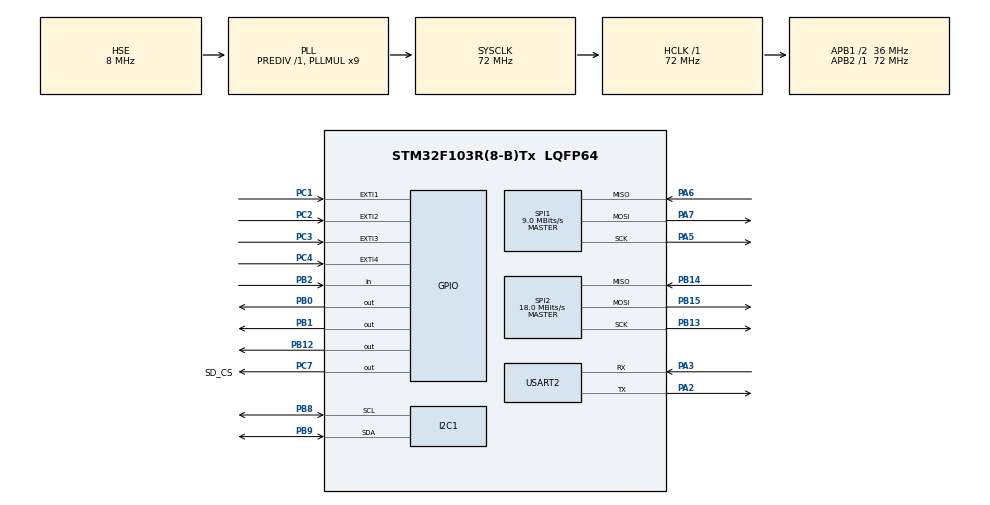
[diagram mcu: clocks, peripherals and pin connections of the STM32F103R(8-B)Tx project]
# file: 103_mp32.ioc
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FATFS._MAX_SS=4096
FATFS._USE_LFN=1
Mcu.Family=STM32F1
Mcu.Name=STM32F103R(8-B)Tx
Mcu.Package=LQFP64
NVIC.EXTI1_IRQn=true\:0\:0\:false\:true\:true\:1\:true\:true
NVIC.EXTI2_IRQn=true\:0\:0\:false\:true\:true\:2\:true\:true
NVIC.EXTI3_IRQn=true\:0\:0\:false\:true\:true\:3\:true\:true
NVIC.EXTI4_IRQn=true\:0\:0\:false\:true\:true\:4\:true\:true
NVIC.PriorityGroup=NVIC_PRIORITYGROUP_4
PA13.Mode=Serial_Wire
PA13.Signal=SYS_JTMS-SWDIO
PA14.Mode=Serial_Wire
PA14.Signal=SYS_JTCK-SWCLK
PA2.Mode=Asynchronous
PA2.Signal=USART2_TX
PA3.Mode=Asynchronous
PA3.Signal=USART2_RX
PA5.Mode=Full_Duplex_Master
PA5.Signal=SPI1_SCK
PA6.Mode=Full_Duplex_Master
PA6.Signal=SPI1_MISO
PA7.Mode=Full_Duplex_Master
PA7.Signal=SPI1_MOSI
PB0.Signal=GPIO_Output
PB1.Signal=GPIO_Output
PB12.Signal=GPIO_Output
PB13.Mode=Full_Duplex_Master
PB13.Signal=SPI2_SCK
PB14.Mode=Full_Duplex_Master
PB14.Signal=SPI2_MISO
PB15.Mode=Full_Duplex_Master
PB15.Signal=SPI2_MOSI
PB2.Signal=GPIO_Input
PB8.Mode=I2C
PB8.Signal=I2C1_SCL
PB9.Mode=I2C
PB9.Signal=I2C1_SDA
PC1.GPIO_ModeDefaultEXTI=GPIO_MODE_IT_RISING
PC1.Signal=GPXTI1
PC2.GPIO_ModeDefaultEXTI=GPIO_MODE_IT_RISING
PC2.Signal=GPXTI2
PC3.GPIO_ModeDefaultEXTI=GPIO_MODE_IT_RISING
PC3.Signal=GPXTI3
PC4.GPIO_ModeDefaultEXTI=GPIO_MODE_IT_RISING
PC4.Signal=GPXTI4
PC7.GPIO_Label=SD_CS
PC7.GPIO_PuPd=GPIO_NOPULL
PC7.GPIO_Speed=GPIO_SPEED_FREQ_MEDIUM
PC7.PinState=GPIO_PIN_SET
PC7.Signal=GPIO_Output
PD0-OSC_IN.Mode=HSE-External-Oscillator
PD0-OSC_IN.Signal=RCC_OSC_IN
PD1-OSC_OUT.Mode=HSE-External-Oscillator
PD1-OSC_OUT.Signal=RCC_OSC_OUT
ProjectManager.HeapSize=0x200
ProjectManager.StackSize=0x400
ProjectManager.TargetToolchain=TrueSTUDIO
RCC.AHBFreq_Value=72000000
RCC.APB1CLKDivider=RCC_HCLK_DIV2
RCC.APB1Freq_Value=36000000
RCC.APB1TimFreq_Value=72000000
RCC.APB2Freq_Value=72000000
RCC.APB2TimFreq_Value=72000000
RCC.HCLKFreq_Value=72000000
RCC.PLLMUL=RCC_PLL_MUL9
RCC.PLLSourceVirtual=RCC_PLLSOURCE_HSE
RCC.SYSCLKFreq_VALUE=72000000
RCC.SYSCLKSource=RCC_SYSCLKSOURCE_PLLCLK
RCC.USBFreq_Value=72000000
SPI1.BaudRatePrescaler=SPI_BAUDRATEPRESCALER_8
SPI1.CalculateBaudRate=9.0 MBits/s
SPI1.Direction=SPI_DIRECTION_2LINES
SPI1.Mode=SPI_MODE_MASTER
SPI1.VirtualType=VM_MASTER
SPI2.BaudRatePrescaler=SPI_BAUDRATEPRESCALER_2
SPI2.CLKPhase=SPI_PHASE_2EDGE
SPI2.CLKPolarity=SPI_POLARITY_HIGH
SPI2.CalculateBaudRate=18.0 MBits/s
SPI2.Direction=SPI_DIRECTION_2LINES
SPI2.Mode=SPI_MODE_MASTER
SPI2.VirtualType=VM_MASTER
USART2.VirtualMode=VM_ASYNC
VP_FATFS_VS_Generic.Mode=User_defined
board=custom

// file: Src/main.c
/* USER CODE BEGIN Header */
/**
  ******************************************************************************
  * @file           : main.c
  * @brief          : Main program body
  ******************************************************************************
  * @attention
  *
  * <h2><center>&copy; Copyright (c) 2019 STMicroelectronics.
  * All rights reserved.</center></h2>
  *
  * This software component is licensed by ST under BSD 3-Clause license,
  * the "License"; You may not use this file except in compliance with the
  * License. You may obtain a copy of the License at:
  *                        opensource.org/licenses/BSD-3-Clause
  *
  ******************************************************************************
  */
/* USER CODE END Header */

#include "main.h"
#include "fatfs.h"
#include "i2c.h"
#include "spi.h"
#include "usart.h"
#include "gpio.h"

/* USER CODE BEGIN Includes */
#include "stm32f1xx_hal.h"
#include "vs1003.h"
#include <stdio.h>
#include "beep.h"
/* USER CODE END Includes */

/* USER CODE BEGIN PTD */
uint8_t  SW1_flag =0;
uint8_t  SW2_flag =0;
uint8_t  SW3_flag =0;
uint8_t  SW4_flag =0;

FATFS fs;
FATFS *pfs;
FIL fil;
FRESULT fres;
DWORD fre_clust;
uint32_t total, free;
char buffer[100];
uint8_t retSD;
/* USER CODE END PTD */

/* USER CODE BEGIN PD */
#define GPIO_TEST 0
#define LINE_OUT_TEST 1
#define LINE_IN_TEST 0
/* USER CODE END PD */

void SystemClock_Config(void);
static void MX_NVIC_Init(void);
/* USER CODE BEGIN PFP */
int _write(int file, char *ptr, int len)
{
       HAL_UART_Transmit(&huart2,(uint8_t *)ptr, (uint16_t)len, 0xFFFFFFFF);
       return len;
}
/* USER CODE END PFP */

/* USER CODE BEGIN 0 */

#define delay_ms HAL_Delay
void delay_us(uint32_t us){  // 72MHz
    if(us>1){
        uint32_t count=us*8-6;
        while(count--); //asm volatile("nop");
    }
    else{
        uint32_t count=2;
        while(count--); // asm volatile("nop");
    }
}

#define ADDRESS   0x27<<1
#define RS1_EN1   0x05
#define RS1_EN0   0x01
#define RS0_EN1   0x04
#define RS0_EN0   0x00
#define BackLight 0x08

// RS-Q0 / RW-Q1 / EN-Q2 / BackLight-Q3 / D4-Q4 / D5-Q5 / D6-Q6 / D7-Q7
void LCD_DATA(uint8_t data) {
  uint8_t temp=(data & 0xF0)|RS1_EN1|BackLight;
  while(HAL_I2C_Master_Transmit(&hi2c1, ADDRESS, &temp, 1, 1000)!=HAL_OK);
  temp=(data & 0xF0)|RS1_EN0|BackLight;
  while(HAL_I2C_Master_Transmit(&hi2c1, ADDRESS, &temp, 1, 1000)!=HAL_OK);
  delay_us(4);

  temp=((data << 4) & 0xF0)|RS1_EN1|BackLight;
  while(HAL_I2C_Master_Transmit(&hi2c1, ADDRESS, &temp, 1, 1000)!=HAL_OK);
  temp = ((data << 4) & 0xF0)|RS1_EN0|BackLight;
  while(HAL_I2C_Master_Transmit(&hi2c1, ADDRESS, &temp, 1, 1000)!=HAL_OK);
  delay_us(50);
}

void LCD_CMD(uint8_t cmd) {
  uint8_t temp=(cmd & 0xF0)|RS0_EN1|BackLight;
  while(HAL_I2C_Master_Transmit(&hi2c1, ADDRESS, &temp, 1, 1000)!=HAL_OK);
  temp=(cmd & 0xF0)|RS0_EN0|BackLight;
  while(HAL_I2C_Master_Transmit(&hi2c1, ADDRESS, &temp, 1, 1000)!=HAL_OK);
  delay_us(4);

  temp=((cmd << 4) & 0xF0)|RS0_EN1|BackLight;
  while(HAL_I2C_Master_Transmit(&hi2c1, ADDRESS, &temp, 1, 1000)!=HAL_OK);
  temp=((cmd << 4) & 0xF0)|RS0_EN0|BackLight;
  while(HAL_I2C_Master_Transmit(&hi2c1, ADDRESS, &temp, 1, 1000)!=HAL_OK);
  delay_us(50);
}

void LCD_CMD_4bit(uint8_t cmd) {
  uint8_t temp=((cmd << 4) & 0xF0)|RS0_EN1|BackLight;
  while(HAL_I2C_Master_Transmit(&hi2c1, ADDRESS, &temp, 1, 1000)!=HAL_OK);
  temp=((cmd << 4) & 0xF0)|RS0_EN0|BackLight;
  while(HAL_I2C_Master_Transmit(&hi2c1, ADDRESS, &temp, 1, 1000)!=HAL_OK);
  delay_us(50);
}

void LCD_INIT(void) {
  delay_ms(100);

  LCD_CMD_4bit(0x03); delay_ms(5);
  LCD_CMD_4bit(0x03); delay_us(100);
  LCD_CMD_4bit(0x03); delay_us(100);
  LCD_CMD_4bit(0x02); delay_us(100);
  LCD_CMD(0x28);  // 4 bits, 2 line, 5x8 font
  LCD_CMD(0x08);  // display off, cursor off, blink off
  LCD_CMD(0x01);  // clear display
  delay_ms(3);
  LCD_CMD(0x06);  // cursor movint direction
  LCD_CMD(0x0C);  // display on, cursor off, blink off
}

void LCD_XY(char x, char y) {
  if      (y == 0) LCD_CMD(0x80 + x);
  else if (y == 1) LCD_CMD(0xC0 + x);
  else if (y == 2) LCD_CMD(0x94 + x);
  else if (y == 3) LCD_CMD(0xD4 + x);
}

void LCD_CLEAR(void) {
  LCD_CMD(0x01);
  delay_ms(2);
}

void LCD_PUTS(char *str) {
  while (*str) LCD_DATA(*str++);
}

/* USER CODE END 0 */

int main(void)
{
  /* USER CODE BEGIN 1 */
  char str[20];
  /* USER CODE END 1 */

  /* MCU Configuration--------------------------------------------------------*/

  /* Reset of all peripherals, Initializes the Flash interface and the Systick. */
  HAL_Init();

  /* Configure the system clock */
  SystemClock_Config();

  /* Initialize all configured peripherals */
  MX_GPIO_Init();
  MX_I2C1_Init();
  MX_SPI2_Init();
  MX_USART2_UART_Init();
  MX_SPI1_Init();
  MX_FATFS_Init();

  /* Initialize interrupts */
  MX_NVIC_Init();
  /* USER CODE BEGIN 2 */
  LCD_INIT();

  VS1003_Init();
  VS1003_SoftReset();

  BYTE buf[32] = "Hello world ";
  uint32_t bw,br;

  if(f_mount(&fs, "", 0) == FR_OK)
   {
	  LCD_XY(0,0);
	  LCD_PUTS("1111");
   }
   /* Open file to write */
//   if(f_open(&fil, "three.txt", FA_OPEN_ALWAYS | FA_READ | FA_WRITE) != FR_OK)
//     _Error_Handler(__FILE__, __LINE__);

  unsigned char filename[20] = "0:/1.mp3";
  uint16_t index = 0;
  LCD_CLEAR();
  if((retSD = f_open(&fil,filename, FA_OPEN_EXISTING | FA_READ ) == FR_OK))
  {

	  sprintf(str,"%s opend",filename);
	  LCD_XY(0,0);
	  LCD_PUTS(str);
  }else
  {
	  sprintf(str,"%s error",filename);
	  LCD_XY(0,0);
	  LCD_PUTS(str);
  }

  printf("7878");

  uint8_t pp_flag = 0;

  /* USER CODE END 2 */

  /* Infinite loop */
  while (1)
  {

    /* USER CODE BEGIN 3 */

	  	  if(MP3_DREQ == 1) // 코덱이 데이터를 받을 수 있는 상태 일때
	  	  {
	  		  if(pp_flag)
	  		  {
				  f_read(&fil, buf, 32, &br);
				  if(br >=32)
				  {
					  VS1003_WriteData(&buf[0]);
				  }else
				  {

				  }
	  		  }

	  	  }
		if(SW1_flag)
		{
			SW1_flag = 0;

			index = index == 0 ? 4 :index-1;
			switch(index)
			{
			case 0:strcpy(filename, "0:/1.mp3"); break;
			case 1:strcpy(filename, "0:/2.mp3"); break;
			case 2:strcpy(filename, "0:/3.mp3"); break;
			case 3:strcpy(filename, "0:/4.mp3"); break;
			case 4:strcpy(filename, "0:/5.mp3"); break;
			}

			f_close(&fil);

			if((retSD = f_open(&fil,filename, FA_OPEN_EXISTING | FA_READ )) == FR_OK)
			{
				  sprintf(str,"%s opend",filename);
				  LCD_XY(0,0);
				  LCD_PUTS(str);
			  }else
			  {
				  sprintf(str,"%s error",filename);
				  LCD_XY(0,0);
				  LCD_PUTS(str);
			  }
			VS1003_SoftReset();
		}
		if(SW3_flag)
		{
			SW3_flag = 0;

			index = index == 4 ? 0 :index+1;
			switch(index)
			{
			case 0:strcpy(filename, "0:/1.mp3"); break;
			case 1:strcpy(filename, "0:/2.mp3"); break;
			case 2:strcpy(filename, "0:/3.mp3"); break;
			case 3:strcpy(filename, "0:/4.mp3"); break;
			case 4:strcpy(filename, "0:/5.mp3"); break;
			}

			f_close(&fil);

			if((retSD = f_open(&fil,filename, FA_OPEN_EXISTING | FA_READ )) == FR_OK)
			{
				  sprintf(str,"%s opend",filename);
				  LCD_XY(0,0);
				  LCD_PUTS(str);
			  }else
			  {
				  sprintf(str,"%s error",filename);
				  LCD_XY(0,0);
				  LCD_PUTS(str);
			  }
			VS1003_SoftReset();
		}
	  	  if(SW2_flag)
	  	  {
	  		SW2_flag = 0;
	  		if(pp_flag)
	  		{
	  			pp_flag = 0;
	  			LCD_XY(0,1);
				LCD_PUTS("paused ");
	  		}
	  		else
	  		{
	  			pp_flag = 1;
	  			LCD_XY(0,1);
				LCD_PUTS("playing  ");

	  		}
	  	  }

  }
  /* USER CODE END 3 */
}

void SystemClock_Config(void)
{
  RCC_OscInitTypeDef RCC_OscInitStruct = {0};
  RCC_ClkInitTypeDef RCC_ClkInitStruct = {0};

  /** Initializes the CPU, AHB and APB busses clocks
  */
  RCC_OscInitStruct.OscillatorType = RCC_OSCILLATORTYPE_HSE;
  RCC_OscInitStruct.HSEState = RCC_HSE_ON;
  RCC_OscInitStruct.HSEPredivValue = RCC_HSE_PREDIV_DIV1;
  RCC_OscInitStruct.HSIState = RCC_HSI_ON;
  RCC_OscInitStruct.PLL.PLLState = RCC_PLL_ON;
  RCC_OscInitStruct.PLL.PLLSource = RCC_PLLSOURCE_HSE;
  RCC_OscInitStruct.PLL.PLLMUL = RCC_PLL_MUL9;
  if (HAL_RCC_OscConfig(&RCC_OscInitStruct) != HAL_OK)
  {
    Error_Handler();
  }
  /** Initializes the CPU, AHB and APB busses clocks
  */
  RCC_ClkInitStruct.ClockType = RCC_CLOCKTYPE_HCLK|RCC_CLOCKTYPE_SYSCLK
                              |RCC_CLOCKTYPE_PCLK1|RCC_CLOCKTYPE_PCLK2;
  RCC_ClkInitStruct.SYSCLKSource = RCC_SYSCLKSOURCE_PLLCLK;
  RCC_ClkInitStruct.AHBCLKDivider = RCC_SYSCLK_DIV1;
  RCC_ClkInitStruct.APB1CLKDivider = RCC_HCLK_DIV2;
  RCC_ClkInitStruct.APB2CLKDivider = RCC_HCLK_DIV1;

  if (HAL_RCC_ClockConfig(&RCC_ClkInitStruct, FLASH_LATENCY_2) != HAL_OK)
  {
    Error_Handler();
  }
}

/**
  * @brief NVIC Configuration.
  * @retval None
  */
static void MX_NVIC_Init(void)
{
  /* EXTI1_IRQn interrupt configuration */
  HAL_NVIC_SetPriority(EXTI1_IRQn, 0, 0);
  HAL_NVIC_EnableIRQ(EXTI1_IRQn);
  /* EXTI2_IRQn interrupt configuration */
  HAL_NVIC_SetPriority(EXTI2_IRQn, 0, 0);
  HAL_NVIC_EnableIRQ(EXTI2_IRQn);
  /* EXTI3_IRQn interrupt configuration */
  HAL_NVIC_SetPriority(EXTI3_IRQn, 0, 0);
  HAL_NVIC_EnableIRQ(EXTI3_IRQn);
  /* EXTI4_IRQn interrupt configuration */
  HAL_NVIC_SetPriority(EXTI4_IRQn, 0, 0);
  HAL_NVIC_EnableIRQ(EXTI4_IRQn);
}

/* USER CODE BEGIN 4 */
void _Error_Handler(char * file, int line)
{
  /* USER CODE BEGIN Error_Handler_Debug */
  /* User can add his own implementation to report the HAL error return state */
  while(1)
  {
  }
  /* USER CODE END Error_Handler_Debug */
}

void HAL_GPIO_EXTI_Callback(uint16_t GPIO_Pin)
{
	static uint32_t temp;
	if(GPIO_Pin == GPIO_PIN_1)
	{
		if((HAL_GetTick()-temp)>200) SW1_flag =1;
		while(HAL_GPIO_ReadPin(GPIOC, GPIO_PIN_1)==GPIO_PIN_RESET);
		temp = HAL_GetTick();
	}

	if(GPIO_Pin == GPIO_PIN_2)
	{
		if((HAL_GetTick()-temp)>200) SW2_flag =1;
		while(HAL_GPIO_ReadPin(GPIOC, GPIO_PIN_2)==GPIO_PIN_RESET);
		temp = HAL_GetTick();
	}

	if(GPIO_Pin == GPIO_PIN_3)
	{
		if((HAL_GetTick()-temp)>200)  SW3_flag =1;
		while(HAL_GPIO_ReadPin(GPIOC, GPIO_PIN_3)==GPIO_PIN_RESET);
		temp = HAL_GetTick();

	}

	if(GPIO_Pin == GPIO_PIN_4)
	{
		if((HAL_GetTick()-temp)>200) SW4_flag =1;
		while(HAL_GPIO_ReadPin(GPIOC, GPIO_PIN_4)==GPIO_PIN_RESET);
		temp = HAL_GetTick();
	}

}
/* USER CODE END 4 */

void Error_Handler(void)
{
  while(1)
  {
  }
}

/************************ (C) COPYRIGHT STMicroelectronics *****END OF FILE****/
